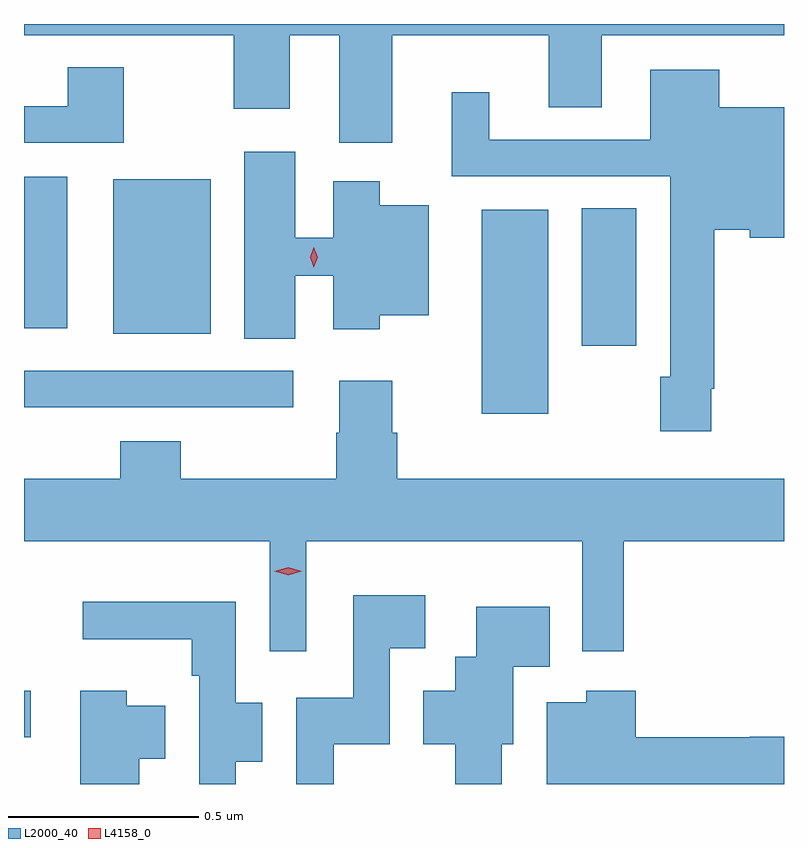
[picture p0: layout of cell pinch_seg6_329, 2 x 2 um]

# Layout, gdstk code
import gdstk
lib = gdstk.Library(unit=1e-6, precision=1e-09)
def R(c, l, rs):  # rectangles x0, y0, x1, y1
    for r in rs: c.add(gdstk.rectangle(r[:2], r[2:], *l))
def P(c, l, *ps):  # polygons
    for p in ps: c.add(gdstk.Polygon(p, *l))
L2000_40 = (2000, 40)
L4158_0 = (4158, 0)

pinch_seg6_329 = lib.new_cell('pinch_seg6_329')
R(pinch_seg6_329, L2000_40, [(666.49,984.116,666.508,984.238), (667.694,984.968,667.87,985.504), (666.49,984.984,667.198,985.08), (667.958,985.146,668.101,985.508), (666.725,985.178,666.982,985.585), (666.49,985.193,666.604,985.591)])
P(pinch_seg6_329, L2000_40, [(667.459,985.964),(667.871,985.964),(667.871,985.774),(668.011,985.774),(668.011,985.964),(668.49,985.964),(668.49,985.993),(666.49,985.993),(666.49,985.964),(667.042,985.964),(667.042,985.77),(667.189,985.77),(667.189,985.964),(667.319,985.964),(667.319,985.68),(667.459,985.68)],
  [(666.753,985.879),(666.605,985.879),(666.605,985.776),(666.49,985.776),(666.49,985.68),(666.753,985.68)],
  [(668.299,985.033),(668.306,985.033),(668.306,985.451),(668.4,985.451),(668.4,985.43),(668.49,985.43),(668.49,985.774),(668.32,985.774),(668.32,985.873),(668.138,985.873),(668.138,985.689),(667.714,985.689),(667.714,985.813),(667.616,985.813),(667.616,985.593),(668.19,985.593),(668.19,985.065),(668.164,985.065),(668.164,984.921),(668.299,984.921)],
  [(667.204,985.33),(667.304,985.33),(667.304,985.19),(667.426,985.19),(667.426,985.226),(667.555,985.226),(667.555,985.516),(667.426,985.516),(667.426,985.579),(667.304,985.579),(667.304,985.431),(667.204,985.431),(667.204,985.657),(667.07,985.657),(667.07,985.165),(667.204,985.165)],
  [(667.233,984.632),(667.959,984.632),(667.959,984.342),(668.068,984.342),(668.068,984.632),(668.49,984.632),(668.49,984.796),(667.472,984.796),(667.472,984.917),(667.459,984.917),(667.459,985.054),(667.319,985.054),(667.319,984.917),(667.312,984.917),(667.312,984.796),(666.903,984.796),(666.903,984.895),(666.743,984.895),(666.743,984.796),(666.49,984.796),(666.49,984.632),(667.137,984.632),(667.137,984.342),(667.233,984.342)],
  [(667.305,984.098),(667.452,984.098),(667.452,984.35),(667.546,984.35),(667.546,984.49),(667.356,984.49),(667.356,984.22),(667.206,984.22),(667.206,983.993),(667.305,983.993)],
  [(667.047,984.052),(667.117,984.052),(667.117,984.207),(667.047,984.207),(667.047,984.472),(666.645,984.472),(666.645,984.374),(666.931,984.374),(666.931,984.278),(666.951,984.278),(666.951,983.993),(667.047,983.993)],
  [(667.747,984.098),(667.777,984.098),(667.777,984.302),(667.874,984.302),(667.874,984.46),(667.68,984.46),(667.68,984.328),(667.625,984.328),(667.625,984.238),(667.541,984.238),(667.541,984.098),(667.625,984.098),(667.625,983.993),(667.747,983.993)],
  [(668.49,984.117),(668.4,984.117),(668.4,984.116),(668.1,984.116),(668.1,984.238),(667.97,984.238),(667.97,984.208),(667.865,984.208),(667.865,983.993),(668.49,983.993)],
  [(666.793,984.059),(666.862,984.059),(666.862,984.199),(666.76,984.199),(666.76,984.238),(666.638,984.238),(666.638,983.993),(666.793,983.993)])
P(pinch_seg6_329, L4158_0, [(667.253,985.353),(667.253,985.353),(667.243,985.379),(667.253,985.405),(667.253,985.405),(667.253,985.405),(667.263,985.379),(667.253,985.353)],
  [(667.185,984.543),(667.149,984.553),(667.149,984.553),(667.149,984.553),(667.185,984.563),(667.221,984.553),(667.221,984.553),(667.221,984.553)])

lib.write_gds('pinch_seg6_329.gds')
